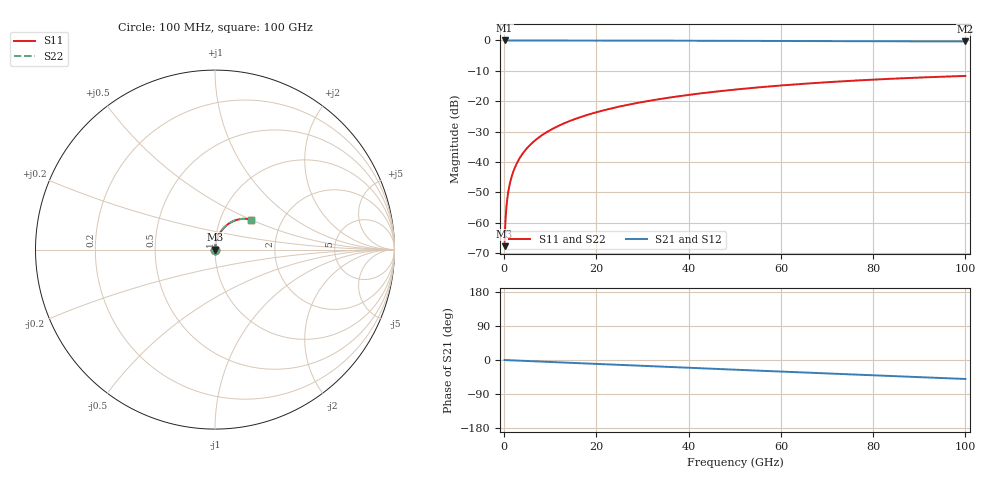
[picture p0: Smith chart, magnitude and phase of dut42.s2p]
! Touchstone file exported from HFSS 2026.1.0
!  File:  C:/ffzhzh/LocalFiles/Ansys_Project_Files/temp_train_TSV_42_1783504786_9504.aedt
!  Generated:  06:01:07 PM Jul  8, 2026
!  Design:  TSV
!  Project:  temp_train_TSV_42_1783504786_9504
! Variables:
!  h_bsmrdl = 2um
!  h_ox = 20um
!  h_rdl = 5um
!  h_sub = 92.76um
!  h_tmrdl = 5um
!  h_tsv = 92.76um
!  h_via = 3um
!  l_bsmrdl = 300um
!  l_sub = 417.9um
!  l_tmrdl = 200um
!  m_sub = 200um
!  pitch = 59.97um
!  r_tsv = 8.95um
!  s_tmrdl = 10um
!  w_bsmrdl = 18um
!  w_sub = 500um
!  w_tmrdl = 12um
!  x_tsv_center1 = 206um
!  x_tsv_center2 = 524um
!  x_tsv_center3 = 736um
!  x_tsv_center4 = 1054um
!  x_tsv_center5 = 1266um
!  x_tsv_center6 = 1584um
# GHz S MA R 50.000000
! Terminal data exported
! Port[1] = TSV1_1_T1
! Port[2] = TSV1_1_T2
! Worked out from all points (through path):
!   1000 points, 100 MHz to 100 GHz, reference 50 ohm
!   highest |S21| = 0.00 dB at 100 MHz (marker M1); lowest = -0.3 dB at 100 GHz (marker M2)
!   group delay of S21, straight-line fit = 1.39 ps
!   lowest |S11| = -67.7 dB at 100 MHz (marker M3), VSWR 1.00, Z = 50 + j0.0377 ohm
!   |S11| at or under -10 dB: start of sweep to end of sweep
!   |S22| runs from -67.7 to -11.7 dB; largest |S21 - S12| = 5.4e-15
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0.1  0.0004112 66.3  0.9998 -0.1  0.9998 -0.1  0.0004112 66.3
! Gamma 0 0 0 0
! Port Impedance 50 0 50 0
0.3  0.001136 80.0  0.9998 -0.2  0.9998 -0.2  0.001136 80.0
0.7  0.002557 83.3  0.9997 -0.4  0.9997 -0.4  0.002557 83.3
0.8  0.002904 83.7  0.9997 -0.4  0.9997 -0.4  0.002904 83.7
1  0.003592 84.1  0.9997 -0.5  0.9997 -0.5  0.003592 84.1
1.3  0.004617 84.6  0.9996 -0.7  0.9996 -0.7  0.004617 84.6
1.7  0.005975 84.9  0.9995 -0.9  0.9995 -0.9  0.005975 84.9
2.3  0.008001 85.2  0.9995 -1.2  0.9995 -1.2  0.008001 85.2
3  0.01035 85.2  0.9994 -1.6  0.9994 -1.6  0.01035 85.2
3.8  0.01302 85.1  0.9993 -2.0  0.9993 -2.0  0.01302 85.1
4.8  0.01634 84.9  0.9991 -2.5  0.9991 -2.5  0.01634 84.9
6  0.02031 84.6  0.999 -3.1  0.999 -3.1  0.02031 84.6
8.8  0.02953 83.5  0.9986 -4.6  0.9986 -4.6  0.02953 83.5
12.4  0.0413 81.9  0.9979 -6.4  0.9979 -6.4  0.0413 81.9
16.8  0.05554 79.9  0.9971 -8.7  0.9971 -8.7  0.05554 79.9
24.2  0.07907 76.3  0.9952 -12.5  0.9952 -12.5  0.07907 76.3
33.4  0.1074 71.8  0.9923 -17.2  0.9923 -17.2  0.1074 71.8
41.2  0.1305 68.0  0.9893 -21.1  0.9893 -21.1  0.1305 67.9
50.1  0.1555 63.6  0.9855 -25.6  0.9855 -25.6  0.1555 63.6
66.7  0.1976 55.4  0.9776 -33.9  0.9776 -33.9  0.1976 55.4
83.4  0.2332 47.4  0.9695 -42.0  0.9695 -42.0  0.2332 47.3
100  0.2605 39.5  0.9621 -50.0  0.9621 -50.0  0.2605 39.4
